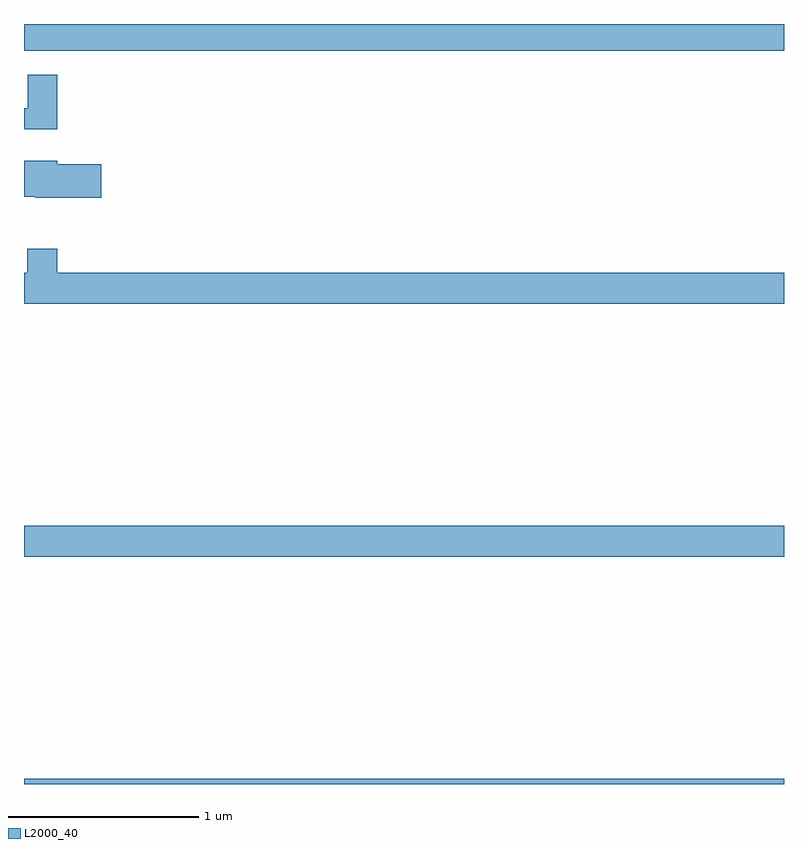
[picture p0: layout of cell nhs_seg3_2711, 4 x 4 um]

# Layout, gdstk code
import gdstk
lib = gdstk.Library(unit=1e-6, precision=1e-09)
def R(c, l, rs):  # rectangles x0, y0, x1, y1
    for r in rs: c.add(gdstk.rectangle(r[:2], r[2:], *l))
def P(c, l, *ps):  # polygons
    for p in ps: c.add(gdstk.Polygon(p, *l))
L2000_40 = (2000, 40)

nhs_seg3_2711 = lib.new_cell('nhs_seg3_2711')
R(nhs_seg3_2711, L2000_40, [(251,686.4,255,686.428), (251,687.596,255,687.76), (251,690.26,255,690.4)])
P(nhs_seg3_2711, L2000_40, [(251.174,690.133),(251.021,690.133),(251.021,689.956),(251,689.956),(251,689.846),(251.174,689.846)],
  [(251.407,689.663),(251.176,689.663),(251.176,689.68),(251,689.68),(251,689.492),(251.058,689.492),(251.058,689.486),(251.407,689.486)],
  [(255,689.092),(251.174,689.092),(251.174,689.216),(251.017,689.216),(251.017,689.092),(251,689.092),(251,688.928),(255,688.928)])

lib.write_gds('nhs_seg3_2711.gds')
